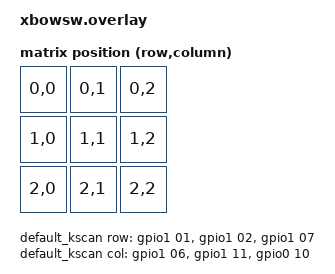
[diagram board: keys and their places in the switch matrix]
#include <dt-bindings/zmk/matrix_transform.h>

/ {
    chosen {
        zephyr,display = &oled;
        zmk,kscan = &default_kscan;
        zmk,matrix_transform = &default_transform;
    };

    default_kscan: kscan {
        compatible = "zmk,kscan-gpio-matrix";
        label = "default_kscan";
        diode-direction = "col2row";

        row-gpios = <&gpio1 01 (GPIO_ACTIVE_HIGH | GPIO_PULL_DOWN)>,
                    <&gpio1 02 (GPIO_ACTIVE_HIGH | GPIO_PULL_DOWN)>,
                    <&gpio1 07 (GPIO_ACTIVE_HIGH | GPIO_PULL_DOWN)>;
        col-gpios = <&gpio1 06 GPIO_ACTIVE_HIGH>,
                    <&gpio1 11 GPIO_ACTIVE_HIGH>,
                    <&gpio0 10 GPIO_ACTIVE_HIGH>;
    };

    default_transform: matrix_transform {
        compatible = "zmk,matrix-transform";
        rows = <3>;
        columns = <3>;

        map = <
            RC(0,0) RC(0,1) RC(0,2)
            RC(1,0) RC(1,1) RC(1,2)
            RC(2,0) RC(2,1) RC(2,2) // if there is no key just delete it
        >;
    };
};
&pro_micro_i2c {
    status = "okay";

    oled: ssd1306@3d {
        compatible = "solomon,ssd1306fb";
        reg = <0x3d>;
        label = "DISPLAY";
        width = <128>;
        height = <32>;
        segment-offset = <0>;
        page-offset = <0>;
        display-offset = <0>;
        multiplex-ratio = <31>;
        segment-remap;
        com-invdir;
        com-sequential;
        prechargep = <0x22>;
    };
};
